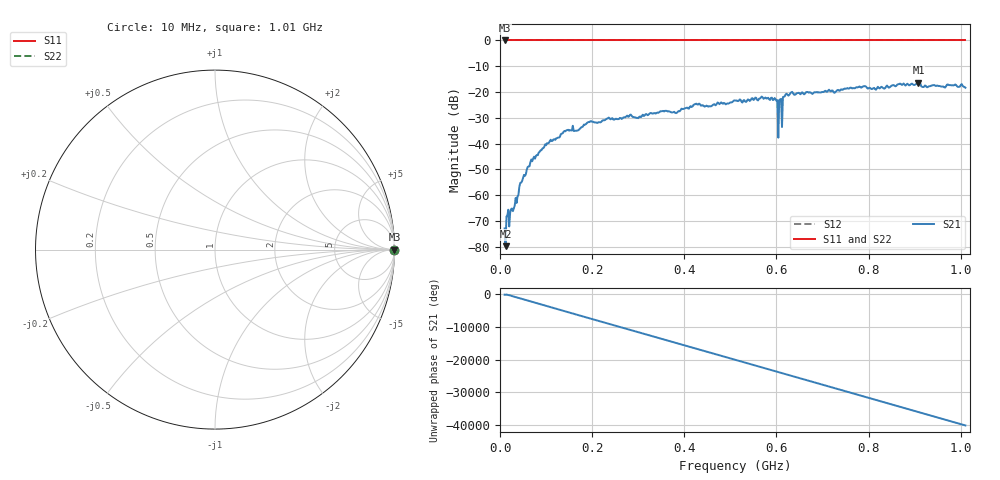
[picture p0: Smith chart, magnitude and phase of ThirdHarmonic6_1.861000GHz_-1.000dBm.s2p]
! 8/16/2025 10:30:30 PM
! C:\ANRITSUVNA\TEMP\TEMP.S2P
! CHANNEL.1
! TR.MEASUREMENT
! RAW.DATA
! RF.CORRECTION.OFF
! AVERAGING.OFF
! IF.BANDWIDTH: 5KHZ
! SWEEPTYPE:  FREQ.SWEEP(Linear)
! Reference Plane Port Info
! PORT:  PORT1  PORT2
! DISTANCE:  0  m  0  m
! TIME:  0  s  0  s
! PHASE.OFFSET:  0  deg.  0  deg.
! LOSS:  0  dB  0  dB
! REF.LOSS:  0  dB  0  dB
! REF.FREQ:  0  Hz  0  Hz
! Power Info
! POWER:  -20  dBm  -20  dBm
! EFF.POWER:  -20  dBm  -20  dBm
! SOURCE.ATTEN:  0  dB  0  dB
! TEST.ATTEN:  0  dB  0  dB
# GHZ S RI R 50.0
! FREQ.GHZ  S11RE  S11IM  S21RE  S21IM  S12RE  S12IM  S22RE  S22IM
!; PortSelection: Port_12
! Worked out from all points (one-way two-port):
!   501 points, 10 MHz to 1.01 GHz, reference 50 ohm
!   highest |S21| = -16.34 dB at 908 MHz (marker M1); lowest = -79.8 dB at 12 MHz (marker M2)
!   lowest |S11| = 0.0 dB at 10 MHz (marker M3)
!   |S11| at or under -10 dB: nowhere
!   |S22| runs from 0.0 to 0.0 dB; largest |S21 - S12| = 1.1
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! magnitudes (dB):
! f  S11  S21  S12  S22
! 10 MHz  0.0  -72.9  0.0  0.0
! 12 MHz  0.0  -79.8  0.0  0.0
! 18 MHz  0.0  -65.6  0.0  0.0
! 32 MHz  0.0  -64.0  0.0  0.0
! 48 MHz  0.0  -54.5  0.0  0.0
! 70 MHz  0.0  -46.8  0.0  0.0
! 142 MHz  0.0  -35.2  0.0  0.0
! 178 MHz  0.0  -33.6  0.0  0.0
! 344 MHz  0.0  -28.0  0.0  0.0
! 510 MHz  0.0  -23.3  0.0  0.0
! 592 MHz  0.0  -23.1  0.0  0.0
! 598 MHz  0.0  -22.8  0.0  0.0
! 600 MHz  0.0  -23.4  0.0  0.0
! 606 MHz  0.0  -23.1  0.0  0.0
! 608 MHz  0.0  -22.8  0.0  0.0
! 610 MHz  0.0  -22.7  0.0  0.0
! 616 MHz  0.0  -21.8  0.0  0.0
! 618 MHz  0.0  -21.7  0.0  0.0
! 678 MHz  0.0  -20.7  0.0  0.0
! 844 MHz  0.0  -18.3  0.0  0.0
! 908 MHz  0.0  -16.3  0.0  0.0
! 1.01 GHz  0.0  -18.3  0.0  0.0
